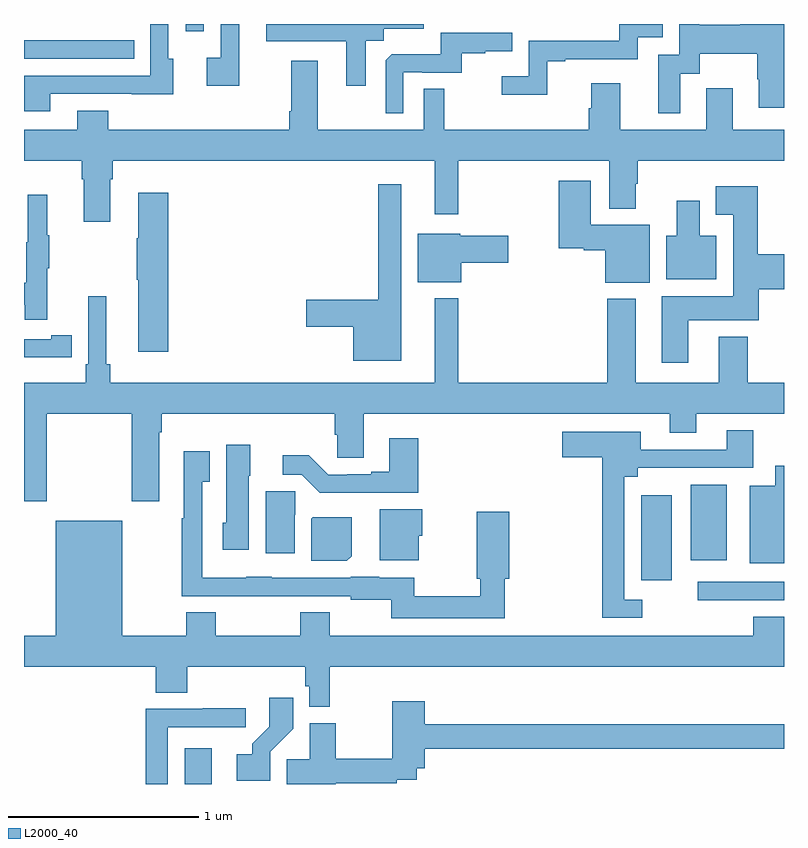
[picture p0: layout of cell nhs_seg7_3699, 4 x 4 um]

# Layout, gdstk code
import gdstk
lib = gdstk.Library(unit=1e-6, precision=1e-09)
def R(c, l, rs):  # rectangles x0, y0, x1, y1
    for r in rs: c.add(gdstk.rectangle(r[:2], r[2:], *l))
def P(c, l, *ps):  # polygons
    for p in ps: c.add(gdstk.Polygon(p, *l))
L2000_40 = (2000, 40)

nhs_seg7_3699 = lib.new_cell('nhs_seg7_3699')
R(nhs_seg7_3699, L2000_40, [(347.846,1000,347.989,1000.189), (350.547,1000.968,351,1001.064), (350.249,1001.073,350.41,1001.521), (350.51,1001.177,350.698,1001.575), (347,1003.818,347.579,1003.914), (347.85,1003.962,347.946,1004)])
P(nhs_seg7_3699, L2000_40, [(350.455,1003.738),(350.557,1003.738),(350.557,1003.844),(350.86,1003.844),(350.86,1003.71),(350.867,1003.71),(350.867,1003.56),(351,1003.56),(351,1004),(350.771,1004),(350.771,1003.996),(350.553,1003.996),(350.553,1004),(350.448,1004),(350.448,1003.839),(350.339,1003.839),(350.339,1003.53),(350.455,1003.53)],
  [(348.799,1003.912),(348.894,1003.912),(348.894,1003.976),(349.105,1003.976),(349.105,1004),(348.275,1004),(348.275,1003.91),(348.695,1003.91),(348.695,1003.674),(348.799,1003.674)],
  [(348.133,1004),(348.036,1004),(348.036,1003.822),(347.961,1003.822),(347.961,1003.674),(348.133,1003.674)],
  [(347.137,1003.632),(347.567,1003.632),(347.567,1003.631),(347.785,1003.631),(347.785,1003.818),(347.76,1003.818),(347.76,1004),(347.664,1004),(347.664,1003.728),(347,1003.728),(347,1003.542),(347.137,1003.542)],
  [(349.755,1003.803),(349.849,1003.803),(349.849,1003.815),(350.229,1003.815),(350.229,1003.929),(350.363,1003.929),(350.363,1004),(350.133,1004),(350.133,1003.911),(349.656,1003.911),(349.656,1003.726),(349.515,1003.726),(349.515,1003.628),(349.755,1003.628)],
  [(348.996,1003.746),(349.096,1003.746),(349.096,1003.743),(349.304,1003.743),(349.304,1003.845),(349.427,1003.845),(349.427,1003.856),(349.571,1003.856),(349.571,1003.953),(349.194,1003.953),(349.194,1003.841),(348.935,1003.841),(348.903,1003.809),(348.903,1003.529),(348.996,1003.529)],
  [(349.163,1002.999),(349.285,1002.999),(349.285,1003.28),(350.081,1003.28),(350.081,1003.028),(350.221,1003.028),(350.221,1003.16),(350.229,1003.16),(350.229,1003.28),(351,1003.28),(351,1003.444),(350.731,1003.444),(350.731,1003.663),(350.591,1003.663),(350.591,1003.444),(350.137,1003.444),(350.137,1003.687),(349.985,1003.687),(349.985,1003.557),(349.973,1003.557),(349.973,1003.444),(349.213,1003.444),(349.213,1003.658),(349.104,1003.658),(349.104,1003.444),(348.547,1003.444),(348.547,1003.807),(348.407,1003.807),(348.407,1003.54),(348.395,1003.54),(348.395,1003.444),(347.443,1003.444),(347.443,1003.543),(347.279,1003.543),(347.279,1003.444),(347,1003.444),(347,1003.28),(347.303,1003.28),(347.303,1003.184),(347.315,1003.184),(347.315,1002.96),(347.455,1002.96),(347.455,1003.184),(347.468,1003.184),(347.468,1003.28),(349.163,1003.28)],
  [(350.293,1002.943),(349.984,1002.943),(349.984,1003.174),(349.814,1003.174),(349.814,1002.821),(349.947,1002.821),(349.947,1002.809),(350.06,1002.809),(350.06,1002.638),(350.293,1002.638)],
  [(348.985,1003.156),(348.864,1003.156),(348.864,1002.548),(348.486,1002.548),(348.486,1002.406),(348.734,1002.406),(348.734,1002.227),(348.985,1002.227)],
  [(350.497,1002.44),(350.867,1002.44),(350.867,1002.605),(351,1002.605),(351,1002.788),(350.862,1002.788),(350.862,1003.147),(350.642,1003.147),(350.642,1002.995),(350.732,1002.995),(350.732,1002.568),(350.357,1002.568),(350.357,1002.216),(350.497,1002.216)],
  [(347.759,1003.111),(347.6,1003.111),(347.6,1002.872),(347.593,1002.872),(347.593,1002.655),(347.6,1002.655),(347.6,1002.276),(347.759,1002.276)],
  [(347.123,1002.715),(347.134,1002.715),(347.134,1002.889),(347.123,1002.889),(347.123,1003.102),(347.02,1003.102),(347.02,1002.852),(347.013,1002.852),(347.013,1002.638),(347,1002.638),(347,1002.522),(347.005,1002.522),(347.005,1002.444),(347.123,1002.444)],
  [(350.644,1002.886),(350.557,1002.886),(350.557,1003.069),(350.435,1003.069),(350.435,1002.886),(350.381,1002.886),(350.381,1002.656),(350.644,1002.656)],
  [(349.3,1002.743),(349.549,1002.743),(349.549,1002.885),(349.296,1002.885),(349.296,1002.895),(349.073,1002.895),(349.073,1002.641),(349.3,1002.641)],
  [(347.453,1002.208),(347.434,1002.208),(347.434,1002.568),(347.337,1002.568),(347.337,1002.208),(347.324,1002.208),(347.324,1002.112),(347,1002.112),(347,1001.487),(347.121,1001.487),(347.121,1001.948),(347.566,1001.948),(347.566,1001.487),(347.713,1001.487),(347.713,1001.852),(347.726,1001.852),(347.726,1001.948),(348.635,1001.948),(348.635,1001.838),(348.648,1001.838),(348.648,1001.716),(348.787,1001.716),(348.787,1001.948),(350.399,1001.948),(350.399,1001.849),(350.539,1001.849),(350.539,1001.948),(351,1001.948),(351,1002.112),(350.81,1002.112),(350.81,1002.355),(350.657,1002.355),(350.657,1002.112),(350.221,1002.112),(350.221,1002.553),(350.069,1002.553),(350.069,1002.112),(349.285,1002.112),(349.285,1002.556),(349.163,1002.556),(349.163,1002.112),(347.453,1002.112)],
  [(347.144,1002.246),(347.252,1002.246),(347.252,1002.362),(347.144,1002.362),(347.144,1002.342),(347,1002.342),(347,1002.245),(347.144,1002.245)],
  [(350.254,1000.971),(350.16,1000.971),(350.16,1001.618),(350.23,1001.618),(350.23,1001.664),(350.839,1001.664),(350.839,1001.863),(350.699,1001.863),(350.699,1001.76),(350.245,1001.76),(350.245,1001.854),(349.833,1001.854),(349.833,1001.72),(350.044,1001.72),(350.044,1000.875),(350.254,1000.875)],
  [(349.076,1001.821),(348.923,1001.821),(348.923,1001.644),(348.827,1001.644),(348.827,1001.631),(348.7,1001.631),(348.7,1001.628),(348.6,1001.628),(348.498,1001.731),(348.363,1001.731),(348.363,1001.628),(348.462,1001.628),(348.557,1001.534),(349.076,1001.534)],
  [(348.184,1001.622),(348.19,1001.622),(348.19,1001.785),(348.065,1001.785),(348.065,1001.376),(348.047,1001.376),(348.047,1001.232),(348.184,1001.232)],
  [(349.529,1001.081),(349.553,1001.081),(349.553,1001.434),(349.382,1001.434),(349.382,1001.081),(349.401,1001.081),(349.401,1000.988),(349.054,1000.988),(349.054,1001.086),(348.87,1001.086),(348.87,1001.092),(348.72,1001.092),(348.72,1001.085),(348.303,1001.085),(348.303,1001.092),(348.171,1001.092),(348.171,1001.086),(347.937,1001.086),(347.937,1001.591),(347.977,1001.591),(347.977,1001.752),(347.841,1001.752),(347.841,1001.399),(347.829,1001.399),(347.829,1000.989),(348.071,1000.989),(348.071,1000.988),(348.303,1000.988),(348.303,1000.989),(348.72,1000.989),(348.72,1000.97),(348.933,1000.97),(348.933,1000.872),(349.529,1000.872)],
  [(351,1001.674),(350.954,1001.674),(350.954,1001.569),(350.819,1001.569),(350.819,1001.162),(351,1001.162)],
  [(348.424,1001.418),(348.428,1001.418),(348.428,1001.541),(348.272,1001.541),(348.272,1001.214),(348.424,1001.214)],
  [(349.078,1001.307),(349.096,1001.307),(349.096,1001.446),(348.872,1001.446),(348.872,1001.177),(349.078,1001.177)],
  [(348.724,1001.2),(348.724,1001.404),(348.52,1001.404),(348.512,1001.396),(348.512,1001.174),(348.698,1001.174)],
  [(348.61,1000.616),(351,1000.616),(351,1000.879),(350.837,1000.879),(350.837,1000.78),(348.609,1000.78),(348.609,1000.904),(348.454,1000.904),(348.454,1000.78),(348.009,1000.78),(348.009,1000.904),(347.854,1000.904),(347.854,1000.78),(347.518,1000.78),(347.518,1001.386),(347.168,1001.386),(347.168,1000.78),(347,1000.78),(347,1000.616),(347.693,1000.616),(347.693,1000.48),(347.858,1000.48),(347.858,1000.616),(348.481,1000.616),(348.481,1000.515),(348.501,1000.515),(348.501,1000.406),(348.61,1000.406)],
  [(348.297,1000.171),(348.416,1000.29),(348.416,1000.453),(348.291,1000.453),(348.291,1000.301),(348.2,1000.211),(348.2,1000.156),(348.12,1000.156),(348.12,1000.016),(348.297,1000.016)],
  [(348.64,1000.003),(348.962,1000.003),(348.962,1000.023),(349.066,1000.023),(349.066,1000.082),(349.109,1000.082),(349.109,1000.186),(351,1000.186),(351,1000.315),(349.109,1000.315),(349.109,1000.435),(348.938,1000.435),(348.938,1000.132),(348.64,1000.132),(348.64,1000.321),(348.503,1000.321),(348.503,1000.13),(348.382,1000.13),(348.382,1000),(348.64,1000)],
  [(347.757,1000.299),(348.166,1000.299),(348.166,1000.398),(347.941,1000.398),(347.941,1000.395),(347.641,1000.395),(347.641,1000),(347.757,1000)])

lib.write_gds('nhs_seg7_3699.gds')
